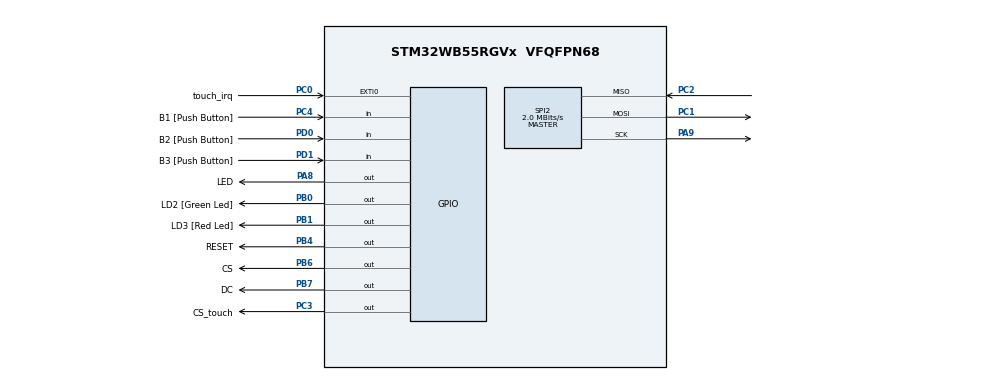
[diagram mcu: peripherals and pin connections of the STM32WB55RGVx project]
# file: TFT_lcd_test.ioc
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Mcu.Family=STM32WB
Mcu.Name=STM32WB55RGVx
Mcu.Package=VFQFPN68
NVIC.EXTI0_IRQn=true\:0\:0\:true\:false\:true\:true\:true\:true
NVIC.PriorityGroup=NVIC_PRIORITYGROUP_4
OSC_IN.Mode=HSE-External-Oscillator
OSC_IN.Signal=RCC_OSC_IN
OSC_OUT.Mode=HSE-External-Oscillator
OSC_OUT.Signal=RCC_OSC_OUT
PA13.GPIO_Label=JTMS
PA13.Mode=Trace_Asynchronous_SW
PA13.Signal=SYS_JTMS-SWDIO
PA14.GPIO_Label=JTCK
PA14.Mode=Trace_Asynchronous_SW
PA14.Signal=SYS_JTCK-SWCLK
PA8.GPIO_Label=LED
PA8.GPIO_PuPd=GPIO_PULLUP
PA8.Signal=GPIO_Output
PA9.GPIO_PuPd=GPIO_PULLDOWN
PA9.GPIO_Speed=GPIO_SPEED_FREQ_VERY_HIGH
PA9.Mode=Full_Duplex_Master
PA9.Signal=SPI2_SCK
PB0.GPIO_Label=LD2 [Green Led]
PB0.Signal=GPIO_Output
PB1.GPIO_Label=LD3 [Red Led]
PB1.Signal=GPIO_Output
PB3.GPIO_Label=JTDO
PB3.Mode=Trace_Asynchronous_SW
PB3.Signal=SYS_JTDO-SWO
PB4.GPIO_Label=RESET
PB4.GPIO_PuPd=GPIO_PULLUP
PB4.GPIO_Speed=GPIO_SPEED_FREQ_MEDIUM
PB4.Signal=GPIO_Output
PB6.GPIO_Label=CS
PB6.GPIO_PuPd=GPIO_PULLUP
PB6.GPIO_Speed=GPIO_SPEED_FREQ_HIGH
PB6.Signal=GPIO_Output
PB7.GPIO_Label=DC
PB7.GPIO_PuPd=GPIO_NOPULL
PB7.GPIO_Speed=GPIO_SPEED_FREQ_HIGH
PB7.Signal=GPIO_Output
PC0.GPIO_Label=touch_irq
PC0.GPIO_ModeDefaultEXTI=GPIO_MODE_IT_FALLING
PC0.GPIO_PuPd=GPIO_NOPULL
PC0.Signal=GPXTI0
PC1.GPIO_PuPd=GPIO_PULLDOWN
PC1.GPIO_Speed=GPIO_SPEED_FREQ_VERY_HIGH
PC1.Mode=Full_Duplex_Master
PC1.Signal=SPI2_MOSI
PC14-OSC32_IN.Mode=LSE-External-Oscillator
PC14-OSC32_IN.Signal=RCC_OSC32_IN
PC15-OSC32_OUT.Mode=LSE-External-Oscillator
PC15-OSC32_OUT.Signal=RCC_OSC32_OUT
PC2.Mode=Full_Duplex_Master
PC2.Signal=SPI2_MISO
PC3.GPIO_Label=CS_touch
PC3.GPIO_PuPd=GPIO_PULLUP
PC3.GPIO_Speed=GPIO_SPEED_FREQ_HIGH
PC3.Signal=GPIO_Output
PC4.GPIO_Label=B1 [Push Button]
PC4.GPIO_PuPd=GPIO_PULLUP
PC4.Signal=GPIO_Input
PD0.GPIO_Label=B2 [Push Button]
PD0.Signal=GPIO_Input
PD1.GPIO_Label=B3 [Push Button]
PD1.Signal=GPIO_Input
ProjectManager.HeapSize=0x200
ProjectManager.StackSize=0x400
ProjectManager.TargetToolchain=STM32CubeIDE
RCC.ADCFreq_Value=48000000
RCC.AHB2CLKDivider=RCC_SYSCLK_DIV2
RCC.AHBFreq_Value=64000000
RCC.APB1CLKDivider=RCC_HCLK_DIV4
RCC.APB1Freq_Value=16000000
RCC.APB1TimFreq_Value=32000000
RCC.APB2Freq_Value=64000000
RCC.APB2TimFreq_Value=64000000
RCC.APB3Freq_Value=16000000
RCC.CortexFreq_Value=64000000
RCC.HCLKFreq_Value=64000000
RCC.HSE_VALUE=32000000
RCC.HSI48_VALUE=48000000
RCC.HSI_VALUE=16000000
RCC.PLLN=32
RCC.PLLSAI1N=24
RCC.SMPSCLockSelectionVirtual=RCC_SMPSCLKSOURCE_HSI
RCC.SMPSCLockSelectionVirtualVirtual=RCC_SMPSCLKSOURCE_HSI
RCC.SMPSDivider=1
RCC.SYSCLKFreq_VALUE=64000000
RCC.SYSCLKSource=RCC_SYSCLKSOURCE_PLLCLK
RCC.USBFreq_Value=48000000
RCC.VCOOutputFreq_Value=128000000
SPI2.BaudRatePrescaler=SPI_BAUDRATEPRESCALER_8
SPI2.CalculateBaudRate=2.0 MBits/s
SPI2.DataSize=SPI_DATASIZE_8BIT
SPI2.Direction=SPI_DIRECTION_2LINES
SPI2.Mode=SPI_MODE_MASTER
SPI2.VirtualType=VM_MASTER
VP_MEMORYMAP_VS_MEMORYMAP.Mode=CurAppReg
board=P-NUCLEO-WB55-NUCLEO

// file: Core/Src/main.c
/* USER CODE BEGIN Header */
/*
 LCD display test program

 Copyright (c) 2017 Larry Bank
 email: bitbank@pobox.com
 Project started 5/17/2017

 This program is free software: you can redistribute it and/or modify
 it under the terms of the GNU General Public License as published by
 the Free Software Foundation, either version 3 of the License, or
 (at your option) any later version.

 This program is distributed in the hope that it will be useful,
 but WITHOUT ANY WARRANTY; without even the implied warranty of
 MERCHANTABILITY or FITNESS FOR A PARTICULAR PURPOSE.  See the
 GNU General Public License for more details.

 You should have received a copy of the GNU General Public License
 along with this program.  If not, see <http://www.gnu.org/licenses/>.
*/
/* USER CODE END Header */
#include "main.h"
#include "memorymap.h"
#include "spi.h"
#include "gpio.h"

/* USER CODE BEGIN Includes */
#include <stdio.h>
#include <stdlib.h>
#include <stdint.h>
#include <string.h>
#include <unistd.h>
#include <time.h>
#include "tm_stm32f4_ili9341.h"
#include "my_image_samples.h"
/* USER CODE END Includes */

void SystemClock_Config(void);
void PeriphCommonClock_Config(void);

/* USER CODE BEGIN 0 */
te_screen current_screen = SND_LOGO;
/* USER CODE END 0 */

int main(void)
{

  /* MCU Configuration--------------------------------------------------------*/

  /* Reset of all peripherals, Initializes the Flash interface and the Systick. */
  HAL_Init();

  /* Configure the system clock */
  SystemClock_Config();

/* Configure the peripherals common clocks */
  PeriphCommonClock_Config();

  /* Initialize all configured peripherals */
  MX_GPIO_Init();
  MX_SPI2_Init();
  /* USER CODE BEGIN 2 */
  TM_ILI9341_Init();

  TM_ILI9341_Rotate(TM_ILI9341_Orientation_Landscape_1);

  current_screen = MAIN;

  //FIll lcd with color
  TM_ILI9341_Fill(num_swap_16b((uint16_t)ILI9341_COLOR_BLUE2));

  //just a show with the logo increasing in size
 /* while(1)
  {
	  for(int cnt=30;cnt<=100;cnt+=10){
		  draw_SND_logo(cnt,160,120,ILI9341_COLOR_GREEN);
		  HAL_Delay(1000);
		  draw_SND_logo(cnt,160,120,ILI9341_COLOR_BLUE2);
		  HAL_Delay(100);
	  }
	  draw_SND_logo(100,160,120,ILI9341_COLOR_BLUE2);
  }*/

  //draw SND logos
  draw_SND_logo(20,70,70,ILI9341_COLOR_GREEN);
  draw_SND_logo(20,250,70,ILI9341_COLOR_GREEN);
  draw_SND_logo(20,70,170,ILI9341_COLOR_GREEN);
  draw_SND_logo(20,250,170,ILI9341_COLOR_GREEN);

  draw_SND_logo(40,160,120,ILI9341_COLOR_GREEN);

  HAL_Delay(1000);

  draw_SND_logo(20,70,70,ILI9341_COLOR_BLUE2);
  draw_SND_logo(20,250,70,ILI9341_COLOR_BLUE2);
  draw_SND_logo(20,70,170,ILI9341_COLOR_BLUE2);
  draw_SND_logo(20,250,170,ILI9341_COLOR_BLUE2);

  draw_SND_logo(40,160,120,ILI9341_COLOR_BLUE2);

  TM_ILI9341_Puts(125, 95, "Hello", &TM_FontCalibri_16x26, num_swap_16b((uint16_t)ILI9341_COLOR_GREEN), num_swap_16b((uint16_t)ILI9341_COLOR_BLUE2));
  TM_ILI9341_Puts(130, 118, "Geek", &TM_FontCalibri_16x26, num_swap_16b((uint16_t)ILI9341_COLOR_GREEN), num_swap_16b((uint16_t)ILI9341_COLOR_BLUE2));

  ILI9341_draw_filled_triangle(11, 119,47, 100,47, 137,ILI9341_COLOR_GREEN);
  ILI9341_draw_filled_triangle(272, 100,272, 137,308, 119,ILI9341_COLOR_GREEN);

  int init_tick = HAL_GetTick();

  te_arrow_visib arr_visib = SHOWN;

  //draw an image
//  HAL_Delay(1000);
//  ILI9341_DrawImage((ILI9341_WIDTH - 240) / 2, (ILI9341_HEIGHT - 240) / 2, 240, 240,  (const uint16_t*)test_img_240x240);
  /* USER CODE END 2 */

  /* Infinite loop */
  /* USER CODE BEGIN WHILE */
  while (1)
  {
	  uint16_t x, y;

	  if(abs(init_tick - HAL_GetTick()) >=500)
	  {
		  if( arr_visib == SHOWN)
		  {
			  ILI9341_draw_filled_triangle(11, 119,47, 100,47, 137,ILI9341_COLOR_BLUE2);
			  ILI9341_draw_filled_triangle(272, 100,272, 137,308, 119,ILI9341_COLOR_BLUE2);
			  arr_visib = HIDDEN;
		  }
		  else
		  {
			  ILI9341_draw_filled_triangle(11, 119,47, 100,47, 137,ILI9341_COLOR_GREEN);
			  ILI9341_draw_filled_triangle(272, 100,272, 137,308, 119,ILI9341_COLOR_GREEN);
			  arr_visib = SHOWN;
		  }

		  init_tick = HAL_GetTick();
	  }

	  if(ILI9341_TouchGetCoordinates(&x, &y)) {
	  	  	  if(x>=0 && x<=55 && y<=130 && y>=90)
			  {
	  			  if(current_screen == MAIN) // right arrow
	  			  {
	  				  current_screen = MEASUREMENTS;

	  				  TM_ILI9341_Puts(125, 95, "Hello", &TM_FontCalibri_16x26, num_swap_16b((uint16_t)ILI9341_COLOR_BLUE2), num_swap_16b((uint16_t)ILI9341_COLOR_BLUE2));
	  				  TM_ILI9341_Puts(130, 118, "Geek", &TM_FontCalibri_16x26, num_swap_16b((uint16_t)ILI9341_COLOR_BLUE2), num_swap_16b((uint16_t)ILI9341_COLOR_BLUE2));

	  				  TM_ILI9341_Puts(20, 5, "Procs Parameters", &TM_FontCalibri_16x26, num_swap_16b((uint16_t)ILI9341_COLOR_GREEN), num_swap_16b((uint16_t)ILI9341_COLOR_BLUE2));
	  				  TM_ILI9341_Puts(80, 50, "F objc: 500kN\nR objc: 20 cm\nC objc: 24 mF", &TM_FontCalibri_11x18, num_swap_16b((uint16_t)ILI9341_COLOR_WHITE), num_swap_16b((uint16_t)ILI9341_COLOR_BLUE2));

	  			  }
	  			  else if(current_screen == MEASUREMENTS )
	  			  {
	  				  current_screen = CYCLE_INFO;
	  				  TM_ILI9341_Puts(20, 5, "Procs Parameters", &TM_FontCalibri_16x26, num_swap_16b((uint16_t)ILI9341_COLOR_BLUE2), num_swap_16b((uint16_t)ILI9341_COLOR_BLUE2));
	  				  TM_ILI9341_Puts(80, 50, "F objc: 500kN\nR objc: 20 cm\nC objc: 24 mF", &TM_FontCalibri_11x18, num_swap_16b((uint16_t)ILI9341_COLOR_BLUE2), num_swap_16b((uint16_t)ILI9341_COLOR_BLUE2));

	  				  TM_ILI9341_Puts(20, 5, " Cycle Parameters", &TM_FontCalibri_16x26, num_swap_16b((uint16_t)ILI9341_COLOR_GREEN), num_swap_16b((uint16_t)ILI9341_COLOR_BLUE2));
	  				  TM_ILI9341_Puts(80, 40,"Cycle state", &TM_FontCalibri_11x18, num_swap_16b((uint16_t)ILI9341_COLOR_GREEN), num_swap_16b((uint16_t)ILI9341_COLOR_BLUE2));
	  				  TM_ILI9341_DrawRectangle(80, 62, 200, 126, num_swap_16b(ILI9341_COLOR_GREEN));
	  				  TM_ILI9341_Puts(83, 67, "0-1s init\n10  objc\nSilver", &TM_FontCalibri_11x18, num_swap_16b((uint16_t)ILI9341_COLOR_WHITE), num_swap_16b((uint16_t)ILI9341_COLOR_BLUE2));

					  TM_ILI9341_Puts(83, 130, "Cycle Time: ", &TM_FontCalibri_11x18, num_swap_16b((uint16_t)ILI9341_COLOR_GREEN), num_swap_16b((uint16_t)ILI9341_COLOR_BLUE2));
	  				  TM_ILI9341_DrawRectangle(83, 152, 230, 168, num_swap_16b(ILI9341_COLOR_GREEN));
	  				  TM_ILI9341_DrawFilledRectangle(83, 152, 100, 168, num_swap_16b(ILI9341_COLOR_GREEN));

	  				  TM_ILI9341_Puts(83, 170, "Procs Time: ", &TM_FontCalibri_11x18, num_swap_16b((uint16_t)ILI9341_COLOR_GREEN), num_swap_16b((uint16_t)ILI9341_COLOR_BLUE2));
	  				  TM_ILI9341_DrawRectangle(83, 190, 230, 206, num_swap_16b(ILI9341_COLOR_GREEN));
	  				  TM_ILI9341_DrawFilledRectangle(83, 190, 200, 206, num_swap_16b(ILI9341_COLOR_GREEN));

	  			  }
	  			  else if(current_screen == CYCLE_INFO )
	  			  {
	  				 current_screen = MAIN;
	  				 TM_ILI9341_Puts(20, 5, " Cycle Parameters", &TM_FontCalibri_16x26, num_swap_16b((uint16_t)ILI9341_COLOR_BLUE2), num_swap_16b((uint16_t)ILI9341_COLOR_BLUE2));
					 TM_ILI9341_Puts(80, 40,"Cycle state", &TM_FontCalibri_11x18, num_swap_16b((uint16_t)ILI9341_COLOR_BLUE2), num_swap_16b((uint16_t)ILI9341_COLOR_BLUE2));
					 TM_ILI9341_DrawRectangle(80, 62, 200, 126, num_swap_16b(ILI9341_COLOR_BLUE2));
	  				  TM_ILI9341_Puts(83, 67, "0-1s init\n10  objc\nSilver", &TM_FontCalibri_11x18, num_swap_16b((uint16_t)ILI9341_COLOR_BLUE2), num_swap_16b((uint16_t)ILI9341_COLOR_BLUE2));

					  TM_ILI9341_Puts(83, 130, "Cycle Time: ", &TM_FontCalibri_11x18, num_swap_16b((uint16_t)ILI9341_COLOR_BLUE2), num_swap_16b((uint16_t)ILI9341_COLOR_BLUE2));
	  				  TM_ILI9341_DrawRectangle(83, 152, 230, 168, num_swap_16b(ILI9341_COLOR_BLUE2));
	  				  TM_ILI9341_DrawFilledRectangle(83, 152, 100, 168, num_swap_16b(ILI9341_COLOR_BLUE2));

	  				  TM_ILI9341_Puts(83, 170, "Procs Time: ", &TM_FontCalibri_11x18, num_swap_16b((uint16_t)ILI9341_COLOR_BLUE2), num_swap_16b((uint16_t)ILI9341_COLOR_BLUE2));
	  				  TM_ILI9341_DrawRectangle(83, 190, 230, 206, num_swap_16b(ILI9341_COLOR_BLUE2));
	  				  TM_ILI9341_DrawFilledRectangle(83, 190, 200, 206, num_swap_16b(ILI9341_COLOR_BLUE2));

	  				  TM_ILI9341_Puts(125, 95, "Hello", &TM_FontCalibri_16x26, num_swap_16b((uint16_t)ILI9341_COLOR_GREEN), num_swap_16b((uint16_t)ILI9341_COLOR_BLUE2));
	  				  TM_ILI9341_Puts(130, 118, "Geek", &TM_FontCalibri_16x26, num_swap_16b((uint16_t)ILI9341_COLOR_GREEN), num_swap_16b((uint16_t)ILI9341_COLOR_BLUE2));

	  			  }

	  		  }
	  	  	  else if(x>=210 && x<=319 && y<=137 && y>=100 ) //left arrow
	  		  {
	  			  if(current_screen == MAIN)
	  			  {
	  				 current_screen = CYCLE_INFO;
	  				 TM_ILI9341_Puts(125, 95, "Hello", &TM_FontCalibri_16x26, num_swap_16b((uint16_t)ILI9341_COLOR_BLUE2), num_swap_16b((uint16_t)ILI9341_COLOR_BLUE2));
	  				 TM_ILI9341_Puts(130, 118, "Geek", &TM_FontCalibri_16x26, num_swap_16b((uint16_t)ILI9341_COLOR_BLUE2), num_swap_16b((uint16_t)ILI9341_COLOR_BLUE2));

					 TM_ILI9341_Puts(20, 5, " Cycle Parameters", &TM_FontCalibri_16x26, num_swap_16b((uint16_t)ILI9341_COLOR_GREEN), num_swap_16b((uint16_t)ILI9341_COLOR_BLUE2));
					 TM_ILI9341_Puts(80, 40,"Cycle state", &TM_FontCalibri_11x18, num_swap_16b((uint16_t)ILI9341_COLOR_GREEN), num_swap_16b((uint16_t)ILI9341_COLOR_BLUE2));
					 TM_ILI9341_DrawRectangle(80, 62, 200, 126, num_swap_16b(ILI9341_COLOR_GREEN));
					 TM_ILI9341_Puts(83, 67, "0-1s init\n10  objc\nSilver", &TM_FontCalibri_11x18, num_swap_16b((uint16_t)ILI9341_COLOR_WHITE), num_swap_16b((uint16_t)ILI9341_COLOR_BLUE2));

					 TM_ILI9341_Puts(83, 130, "Cycle Time: ", &TM_FontCalibri_11x18, num_swap_16b((uint16_t)ILI9341_COLOR_GREEN), num_swap_16b((uint16_t)ILI9341_COLOR_BLUE2));
					  TM_ILI9341_DrawRectangle(83, 152, 230, 168, num_swap_16b(ILI9341_COLOR_GREEN));
					  TM_ILI9341_DrawFilledRectangle(83, 152, 100, 168, num_swap_16b(ILI9341_COLOR_GREEN));

					  TM_ILI9341_Puts(83, 170, "Procs Time: ", &TM_FontCalibri_11x18, num_swap_16b((uint16_t)ILI9341_COLOR_GREEN), num_swap_16b((uint16_t)ILI9341_COLOR_BLUE2));
					  TM_ILI9341_DrawRectangle(83, 190, 230, 206, num_swap_16b(ILI9341_COLOR_GREEN));
					  TM_ILI9341_DrawFilledRectangle(83, 190, 200, 206, num_swap_16b(ILI9341_COLOR_GREEN));

	  			  }
	  			  else if(current_screen == CYCLE_INFO)
	  			  {
	  				current_screen = MEASUREMENTS;

	  				 TM_ILI9341_Puts(20, 5, " Cycle Parameters", &TM_FontCalibri_16x26, num_swap_16b((uint16_t)ILI9341_COLOR_BLUE2), num_swap_16b((uint16_t)ILI9341_COLOR_BLUE2));
					 TM_ILI9341_Puts(80, 40,"Cycle state", &TM_FontCalibri_11x18, num_swap_16b((uint16_t)ILI9341_COLOR_BLUE2), num_swap_16b((uint16_t)ILI9341_COLOR_BLUE2));
					 TM_ILI9341_DrawRectangle(80, 62, 200, 126, num_swap_16b(ILI9341_COLOR_BLUE2));
					 TM_ILI9341_Puts(83, 67, "0-1s init\n10  objc\nSilver", &TM_FontCalibri_11x18, num_swap_16b((uint16_t)ILI9341_COLOR_BLUE2), num_swap_16b((uint16_t)ILI9341_COLOR_BLUE2));

					 TM_ILI9341_Puts(83, 130, "Cycle Time: ", &TM_FontCalibri_11x18, num_swap_16b((uint16_t)ILI9341_COLOR_BLUE2), num_swap_16b((uint16_t)ILI9341_COLOR_BLUE2));
					  TM_ILI9341_DrawRectangle(83, 152, 230, 168, num_swap_16b(ILI9341_COLOR_BLUE2));
					  TM_ILI9341_DrawFilledRectangle(83, 152, 100, 168, num_swap_16b(ILI9341_COLOR_BLUE2));

					  TM_ILI9341_Puts(83, 170, "Cycle Time: ", &TM_FontCalibri_11x18, num_swap_16b((uint16_t)ILI9341_COLOR_BLUE2), num_swap_16b((uint16_t)ILI9341_COLOR_BLUE2));
					  TM_ILI9341_DrawRectangle(83, 190, 230, 206, num_swap_16b(ILI9341_COLOR_BLUE2));
					  TM_ILI9341_DrawFilledRectangle(83, 190, 200, 206, num_swap_16b(ILI9341_COLOR_BLUE2));

					 TM_ILI9341_Puts(20, 5, "Procs Parameters", &TM_FontCalibri_16x26, num_swap_16b((uint16_t)ILI9341_COLOR_GREEN), num_swap_16b((uint16_t)ILI9341_COLOR_BLUE2));
	  				  TM_ILI9341_Puts(80, 50, "F objc: 500kN\nR objc: 20 cm\nC objc: 24 mF", &TM_FontCalibri_11x18, num_swap_16b((uint16_t)ILI9341_COLOR_WHITE), num_swap_16b((uint16_t)ILI9341_COLOR_BLUE2));

	  			  }
	  			  else if(current_screen == MEASUREMENTS)
	  			  {
	  				  current_screen = MAIN;
	  				  TM_ILI9341_Puts(20, 5, "Procs Parameters", &TM_FontCalibri_16x26, num_swap_16b((uint16_t)ILI9341_COLOR_BLUE2), num_swap_16b((uint16_t)ILI9341_COLOR_BLUE2));
	  				  TM_ILI9341_Puts(80, 50, "F objc: 500kN\nR objc: 20 cm\nC objc: 24 mF", &TM_FontCalibri_11x18, num_swap_16b((uint16_t)ILI9341_COLOR_BLUE2), num_swap_16b((uint16_t)ILI9341_COLOR_BLUE2));

	  				  TM_ILI9341_Puts(125, 95, "Hello", &TM_FontCalibri_16x26, num_swap_16b((uint16_t)ILI9341_COLOR_GREEN), num_swap_16b((uint16_t)ILI9341_COLOR_BLUE2));
					  TM_ILI9341_Puts(130, 118, "Geek", &TM_FontCalibri_16x26, num_swap_16b((uint16_t)ILI9341_COLOR_GREEN), num_swap_16b((uint16_t)ILI9341_COLOR_BLUE2));

	  			  }

	  		  }
	  		  }

    /* USER CODE END WHILE */

  }
}

void SystemClock_Config(void)
{
  RCC_OscInitTypeDef RCC_OscInitStruct = {0};
  RCC_ClkInitTypeDef RCC_ClkInitStruct = {0};

  /** Configure the main internal regulator output voltage
  */
  __HAL_PWR_VOLTAGESCALING_CONFIG(PWR_REGULATOR_VOLTAGE_SCALE1);

  /** Initializes the RCC Oscillators according to the specified parameters
  * in the RCC_OscInitTypeDef structure.
  */
  RCC_OscInitStruct.OscillatorType = RCC_OSCILLATORTYPE_HSI|RCC_OSCILLATORTYPE_HSE
                              |RCC_OSCILLATORTYPE_MSI;
  RCC_OscInitStruct.HSEState = RCC_HSE_ON;
  RCC_OscInitStruct.HSIState = RCC_HSI_ON;
  RCC_OscInitStruct.MSIState = RCC_MSI_ON;
  RCC_OscInitStruct.HSICalibrationValue = RCC_HSICALIBRATION_DEFAULT;
  RCC_OscInitStruct.MSICalibrationValue = RCC_MSICALIBRATION_DEFAULT;
  RCC_OscInitStruct.MSIClockRange = RCC_MSIRANGE_6;
  RCC_OscInitStruct.PLL.PLLState = RCC_PLL_ON;
  RCC_OscInitStruct.PLL.PLLSource = RCC_PLLSOURCE_MSI;
  RCC_OscInitStruct.PLL.PLLM = RCC_PLLM_DIV1;
  RCC_OscInitStruct.PLL.PLLN = 32;
  RCC_OscInitStruct.PLL.PLLP = RCC_PLLP_DIV2;
  RCC_OscInitStruct.PLL.PLLR = RCC_PLLR_DIV2;
  RCC_OscInitStruct.PLL.PLLQ = RCC_PLLQ_DIV2;
  if (HAL_RCC_OscConfig(&RCC_OscInitStruct) != HAL_OK)
  {
    Error_Handler();
  }

  /** Configure the SYSCLKSource, HCLK, PCLK1 and PCLK2 clocks dividers
  */
  RCC_ClkInitStruct.ClockType = RCC_CLOCKTYPE_HCLK4|RCC_CLOCKTYPE_HCLK2
                              |RCC_CLOCKTYPE_HCLK|RCC_CLOCKTYPE_SYSCLK
                              |RCC_CLOCKTYPE_PCLK1|RCC_CLOCKTYPE_PCLK2;
  RCC_ClkInitStruct.SYSCLKSource = RCC_SYSCLKSOURCE_PLLCLK;
  RCC_ClkInitStruct.AHBCLKDivider = RCC_SYSCLK_DIV1;
  RCC_ClkInitStruct.APB1CLKDivider = RCC_HCLK_DIV4;
  RCC_ClkInitStruct.APB2CLKDivider = RCC_HCLK_DIV1;
  RCC_ClkInitStruct.AHBCLK2Divider = RCC_SYSCLK_DIV2;
  RCC_ClkInitStruct.AHBCLK4Divider = RCC_SYSCLK_DIV1;

  if (HAL_RCC_ClockConfig(&RCC_ClkInitStruct, FLASH_LATENCY_3) != HAL_OK)
  {
    Error_Handler();
  }
}

void PeriphCommonClock_Config(void)
{
  RCC_PeriphCLKInitTypeDef PeriphClkInitStruct = {0};

  /** Initializes the peripherals clock
  */
  PeriphClkInitStruct.PeriphClockSelection = RCC_PERIPHCLK_SMPS;
  PeriphClkInitStruct.SmpsClockSelection = RCC_SMPSCLKSOURCE_HSI;
  PeriphClkInitStruct.SmpsDivSelection = RCC_SMPSCLKDIV_RANGE0;

  if (HAL_RCCEx_PeriphCLKConfig(&PeriphClkInitStruct) != HAL_OK)
  {
    Error_Handler();
  }
}

void Error_Handler(void)
{
  __disable_irq();
  while (1)
  {
  }
}
